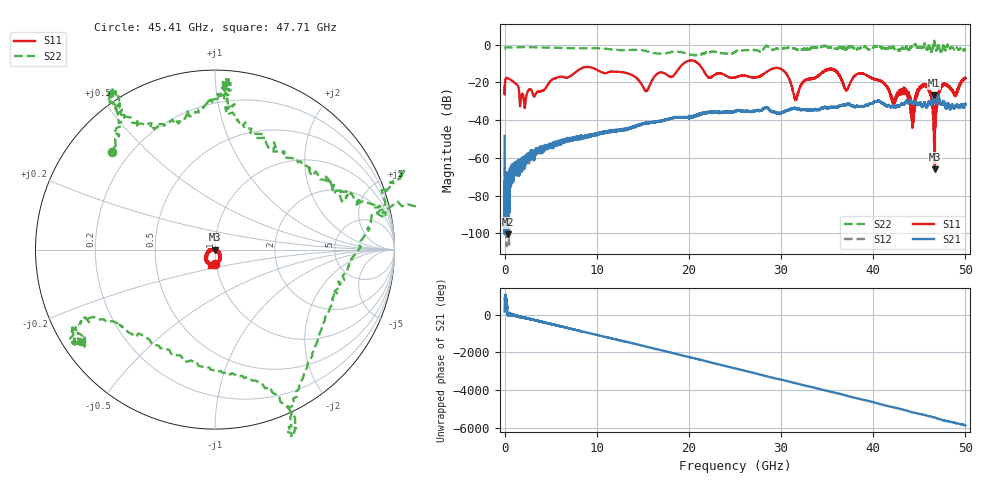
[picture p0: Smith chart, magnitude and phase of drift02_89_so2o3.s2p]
!Created with skrf (http://scikit-rf.org).
# Hz S RI R 50.0
!freq ReS11 ImS11 ReS21 ImS21 ReS12 ImS12 ReS22 ImS22
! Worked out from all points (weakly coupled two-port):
!   10001 points, 300 kHz to 50 GHz, reference 50 ohm
!   highest |S21| = -26.92 dB at 46.58 GHz (marker M1); lowest = -100.5 dB at 315.3 MHz (marker M2)
!   lowest |S11| = -66.1 dB at 46.69 GHz (marker M3), VSWR 1.00, Z = 50 - j0.0406 ohm
!   |S11| at or under -10 dB: start of sweep to 19.42 GHz; 21.00511 GHz to 21.00555 GHz (431.2 kHz wide, 0.00205 % of centre); 21.01 GHz to end of sweep
!   |S22| runs from -5.7 to 2.2 dB; largest |S21 - S12| = 0.0044
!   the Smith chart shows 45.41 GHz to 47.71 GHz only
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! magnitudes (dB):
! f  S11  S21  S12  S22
! 300 kHz  -22.3  -48.4  -64.9  -2.0
! 315.3 MHz  -17.6  -100.5  -72.0  -1.4
! 2.175 GHz  -33.4  -62.8  -62.8  -1.3
! 8.335 GHz  -12.5  -48.4  -49.2  -1.9
! 15.34 GHz  -24.6  -41.5  -41.6  -3.3
! 16.67 GHz  -15.1  -41.0  -40.6  -4.7
! 20.3 GHz  -8.4  -38.6  -38.5  -5.5
! 25 GHz  -17.4  -35.4  -35.3  -3.9
! 29.83 GHz  -12.6  -36.2  -36.5  -2.0
! 31.59 GHz  -28.6  -33.8  -34.0  -2.4
! 33.34 GHz  -18.0  -34.3  -34.4  -1.5
! 35.63 GHz  -13.1  -33.1  -33.3  -1.5
! 37.1 GHz  -24.2  -31.8  -31.8  -2.2
! 38.75 GHz  -15.2  -32.6  -32.6  -0.9
! 41.67 GHz  -23.7  -32.0  -32.3  -1.9
! 43.52 GHz  -24.5  -30.3  -30.5  -1.1
! 44.27 GHz  -37.0  -31.1  -31.0  -1.4
! 45.72 GHz  -21.7  -32.5  -32.7  -1.0
! 46.58 GHz  -45.3  -26.9  -27.1  1.6
! 46.69 GHz  -66.1  -29.4  -28.9  -0.1
! 47.47 GHz  -21.8  -31.7  -31.5  -3.4
! 50 GHz  -17.8  -31.4  -31.6  -2.7
